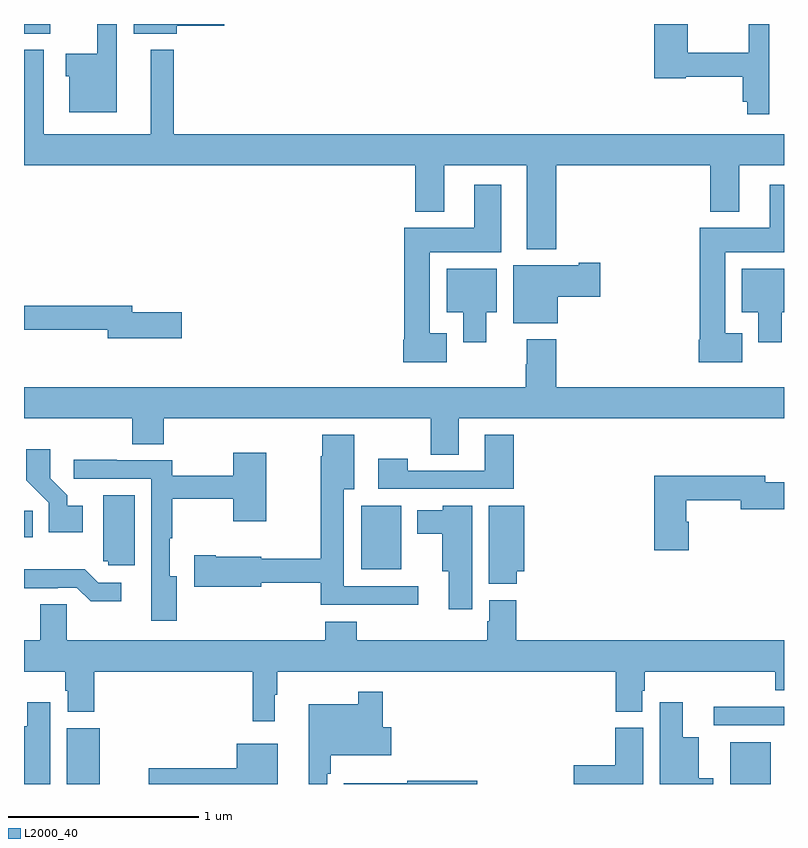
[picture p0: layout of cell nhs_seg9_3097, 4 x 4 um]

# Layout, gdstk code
import gdstk
lib = gdstk.Library(unit=1e-6, precision=1e-09)
def R(c, l, rs):  # rectangles x0, y0, x1, y1
    for r in rs: c.add(gdstk.rectangle(r[:2], r[2:], *l))
def P(c, l, *ps):  # polygons
    for p in ps: c.add(gdstk.Polygon(p, *l))
L2000_40 = (2000, 40)

nhs_seg9_3097 = lib.new_cell('nhs_seg9_3097')
R(nhs_seg9_3097, L2000_40, [(289.226,1190.5,289.399,1190.794), (292.718,1190.5,292.93,1190.719), (292.629,1190.808,293,1190.906), (290.774,1191.629,290.986,1191.964), (289,1191.8,289.046,1191.938), (289,1194.449,289.138,1194.5)])
P(nhs_seg9_3097, L2000_40, [(289.804,1194.491),(290.053,1194.491),(290.053,1194.5),(289.577,1194.5),(289.577,1194.449),(289.804,1194.449)],
  [(289.489,1194.5),(289.385,1194.5),(289.385,1194.343),(289.22,1194.343),(289.22,1194.225),(289.238,1194.225),(289.238,1194.035),(289.489,1194.035)],
  [(292.923,1194.5),(292.815,1194.5),(292.815,1194.35),(292.494,1194.35),(292.494,1194.5),(292.316,1194.5),(292.316,1194.214),(292.482,1194.214),(292.482,1194.222),(292.783,1194.222),(292.783,1194.092),(292.807,1194.092),(292.807,1194.024),(292.923,1194.024)],
  [(291.8,1193.756),(292.613,1193.756),(292.613,1193.513),(292.765,1193.513),(292.765,1193.756),(293,1193.756),(293,1193.92),(289.789,1193.92),(289.789,1194.364),(289.667,1194.364),(289.667,1193.92),(289.105,1193.92),(289.105,1194.364),(289.001,1194.364),(289.001,1193.92),(289,1193.92),(289,1193.756),(291.059,1193.756),(291.059,1193.513),(291.211,1193.513),(291.211,1193.756),(291.647,1193.756),(291.647,1193.315),(291.8,1193.315)],
  [(292.78,1192.873),(292.69,1192.873),(292.69,1193.3),(293,1193.3),(293,1193.653),(292.925,1193.653),(292.925,1193.428),(292.556,1193.428),(292.556,1192.839),(292.55,1192.839),(292.55,1192.721),(292.78,1192.721)],
  [(291.226,1192.873),(291.136,1192.873),(291.136,1193.3),(291.511,1193.3),(291.511,1193.653),(291.371,1193.653),(291.371,1193.428),(291.002,1193.428),(291.002,1192.839),(290.996,1192.839),(290.996,1192.721),(291.226,1192.721)],
  [(291.808,1193.065),(292.033,1193.065),(292.033,1193.243),(291.92,1193.243),(291.92,1193.23),(291.575,1193.23),(291.575,1192.925),(291.808,1192.925)],
  [(292.987,1192.982),(293,1192.982),(293,1193.212),(292.778,1193.212),(292.778,1192.982),(292.865,1192.982),(292.865,1192.824),(292.987,1192.824)],
  [(291.433,1192.982),(291.487,1192.982),(291.487,1193.212),(291.224,1193.212),(291.224,1192.982),(291.311,1192.982),(291.311,1192.824),(291.433,1192.824)],
  [(289.831,1192.982),(289.57,1192.982),(289.57,1193.018),(289,1193.018),(289,1192.89),(289.442,1192.89),(289.442,1192.847),(289.831,1192.847)],
  [(291.647,1192.84),(291.647,1192.709),(291.64,1192.709),(291.64,1192.588),(289,1192.588),(289,1192.424),(289.571,1192.424),(289.571,1192.288),(289.736,1192.288),(289.736,1192.424),(291.142,1192.424),(291.142,1192.234),(291.289,1192.234),(291.289,1192.424),(293,1192.424),(293,1192.588),(291.8,1192.588),(291.8,1192.84)],
  [(291.578,1192.339),(291.425,1192.339),(291.425,1192.149),(291.021,1192.149),(291.021,1192.213),(290.865,1192.213),(290.865,1192.053),(291.578,1192.053)],
  [(291.076,1191.54),(290.683,1191.54),(290.683,1192.052),(290.737,1192.052),(290.737,1192.339),(290.57,1192.339),(290.57,1192.226),(290.563,1192.226),(290.563,1191.686),(290.248,1191.686),(290.248,1191.697),(290.008,1191.697),(290.008,1191.705),(289.896,1191.705),(289.896,1191.539),(290.248,1191.539),(290.248,1191.558),(290.563,1191.558),(290.563,1191.443),(291.076,1191.443)],
  [(289.309,1191.964),(289.228,1191.964),(289.228,1192.019),(289.138,1192.109),(289.138,1192.261),(289.012,1192.261),(289.012,1192.098),(289.131,1191.979),(289.131,1191.824),(289.309,1191.824)],
  [(289.804,1191.594),(289.767,1191.594),(289.767,1191.793),(289.78,1191.793),(289.78,1192.002),(290.101,1192.002),(290.101,1191.882),(290.274,1191.882),(290.274,1192.243),(290.101,1192.243),(290.101,1192.123),(289.78,1192.123),(289.78,1192.203),(289.487,1192.203),(289.487,1192.206),(289.263,1192.206),(289.263,1192.107),(289.671,1192.107),(289.671,1191.582),(289.67,1191.582),(289.67,1191.36),(289.804,1191.36)],
  [(292.499,1191.879),(292.486,1191.879),(292.486,1191.994),(292.772,1191.994),(292.772,1191.947),(293,1191.947),(293,1192.089),(292.9,1192.089),(292.9,1192.123),(292.316,1192.123),(292.316,1191.729),(292.499,1191.729)],
  [(289.582,1192.021),(289.418,1192.021),(289.418,1191.672),(289.443,1191.672),(289.443,1191.651),(289.582,1191.651)],
  [(291.358,1191.964),(291.204,1191.964),(291.204,1191.94),(291.071,1191.94),(291.071,1191.818),(291.2,1191.818),(291.2,1191.62),(291.236,1191.62),(291.236,1191.42),(291.358,1191.42)],
  [(291.593,1191.62),(291.634,1191.62),(291.634,1191.964),(291.446,1191.964),(291.446,1191.553),(291.593,1191.553)],
  [(289.513,1191.558),(289.392,1191.558),(289.319,1191.631),(289,1191.631),(289,1191.531),(289.178,1191.531),(289.178,1191.534),(289.278,1191.534),(289.351,1191.461),(289.513,1191.461)],
  [(290.32,1190.969),(290.332,1190.969),(290.332,1191.092),(292.115,1191.092),(292.115,1190.881),(292.255,1190.881),(292.255,1190.991),(292.268,1190.991),(292.268,1191.092),(292.955,1191.092),(292.955,1190.993),(293,1190.993),(293,1191.256),(291.59,1191.256),(291.59,1191.468),(291.449,1191.468),(291.449,1191.357),(291.437,1191.357),(291.437,1191.256),(290.75,1191.256),(290.75,1191.355),(290.585,1191.355),(290.585,1191.256),(289.224,1191.256),(289.224,1191.446),(289.085,1191.446),(289.085,1191.256),(289,1191.256),(289,1191.092),(289.217,1191.092),(289.217,1190.991),(289.229,1190.991),(289.229,1190.879),(289.37,1190.879),(289.37,1191.092),(290.203,1191.092),(290.203,1190.829),(290.32,1190.829)],
  [(290.595,1190.555),(290.615,1190.555),(290.615,1190.651),(290.932,1190.651),(290.932,1190.799),(290.888,1190.799),(290.888,1190.986),(290.76,1190.986),(290.76,1190.92),(290.498,1190.92),(290.498,1190.5),(290.595,1190.5)],
  [(292.627,1190.53),(292.552,1190.53),(292.552,1190.746),(292.468,1190.746),(292.468,1190.929),(292.346,1190.929),(292.346,1190.5),(292.627,1190.5)],
  [(289.138,1190.929),(289.016,1190.929),(289.016,1190.805),(289,1190.805),(289,1190.5),(289.138,1190.5)],
  [(292.258,1190.796),(292.112,1190.796),(292.112,1190.6),(291.894,1190.6),(291.894,1190.5),(292.258,1190.5)],
  [(290.335,1190.713),(290.12,1190.713),(290.12,1190.582),(289.656,1190.582),(289.656,1190.5),(290.335,1190.5)],
  [(291.385,1190.516),(291.016,1190.516),(291.016,1190.503),(290.684,1190.503),(290.684,1190.5),(291.385,1190.5)])

lib.write_gds('nhs_seg9_3097.gds')
